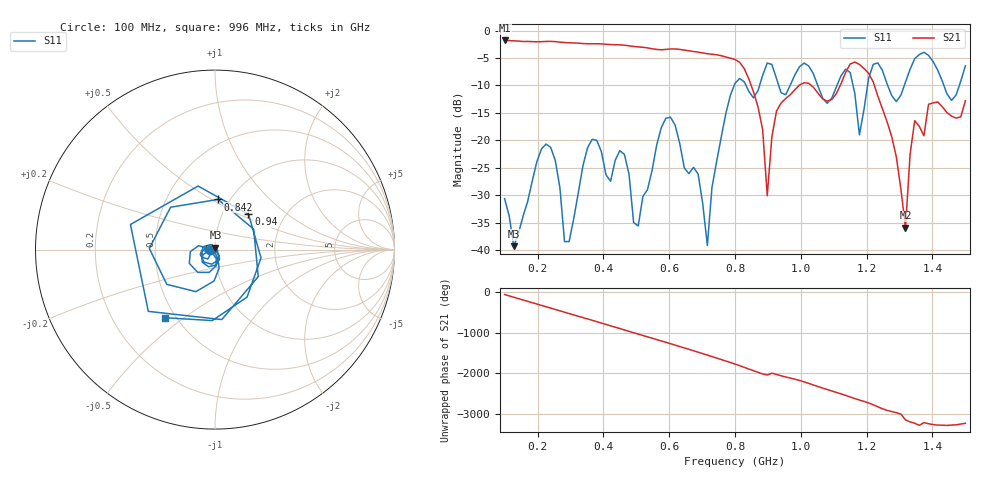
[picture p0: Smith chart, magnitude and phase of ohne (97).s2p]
! NanoVNA-App
! Date: 2025-09-26 09:56:09
! Start: 100MHz Stop: 1,5GHz Points: 101
! S-Parameter data: F S11 S21 S12 S22
# Hz S RI R 50
!  Frequency  S11_Real  S11_Imag  S21_Real  S21_Imag  S12_Real  S12_Imag  S22_Real  S22_Imag
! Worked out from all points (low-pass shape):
!   101 points, 100 MHz to 1.5 GHz, reference 50 ohm
!   highest |S21| = -1.79 dB at 100 MHz (marker M1); lowest = -35.9 dB at 1.318 GHz (marker M2)
!   |S21| within 3 dB of the highest: start of sweep to 771.3 MHz
!   lowest |S11| = -39.3 dB at 128 MHz (marker M3), VSWR 1.02, Z = 50.3 + j1.05 ohm
!   |S11| at or under -10 dB: start of sweep to 797.4 MHz; 833.5 MHz to 874.7 MHz (41.18 MHz wide, 4.82 % of centre); 1.051 GHz to 1.11 GHz (58.36 MHz wide, 5.4 % of centre) (the widest 3 of 7)
!   S12 and S22 are empty: the file has one direction only
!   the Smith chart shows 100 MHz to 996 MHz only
!   S11 on the Smith chart (normalised r, x): 100 MHz: 0.94, -0.01; 842 MHz: 0.88, +0.53; 940 MHz: 1.32, +0.56; 996 MHz: 0.44, -0.43
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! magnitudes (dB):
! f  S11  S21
! 100 MHz  -30.6  -1.8
! 128 MHz  -39.3  -1.9
! 212 MHz  -21.6  -2.0
! 282 MHz  -38.5  -2.2
! 338 MHz  -24.6  -2.4
! 464 MHz  -22.6  -2.7
! 506 MHz  -35.6  -3.0
! 576 MHz  -17.7  -3.5
! 716 MHz  -39.2  -4.2
! 800 MHz  -9.6  -5.3
! 842 MHz  -11.1  -8.8
! 898 MHz  -5.9  -30.1
! 940 MHz  -11.3  -13.2
! 996 MHz  -6.6  -9.9
! 1.038 GHz  -7.9  -10.3
! 1.15 GHz  -7.6  -6.1
! 1.178 GHz  -19.0  -6.2
! 1.22 GHz  -6.1  -9.4
! 1.276 GHz  -11.8  -19.3
! 1.318 GHz  -9.4  -35.9
! 1.346 GHz  -5.1  -16.4
! 1.5 GHz  -6.4  -12.8
